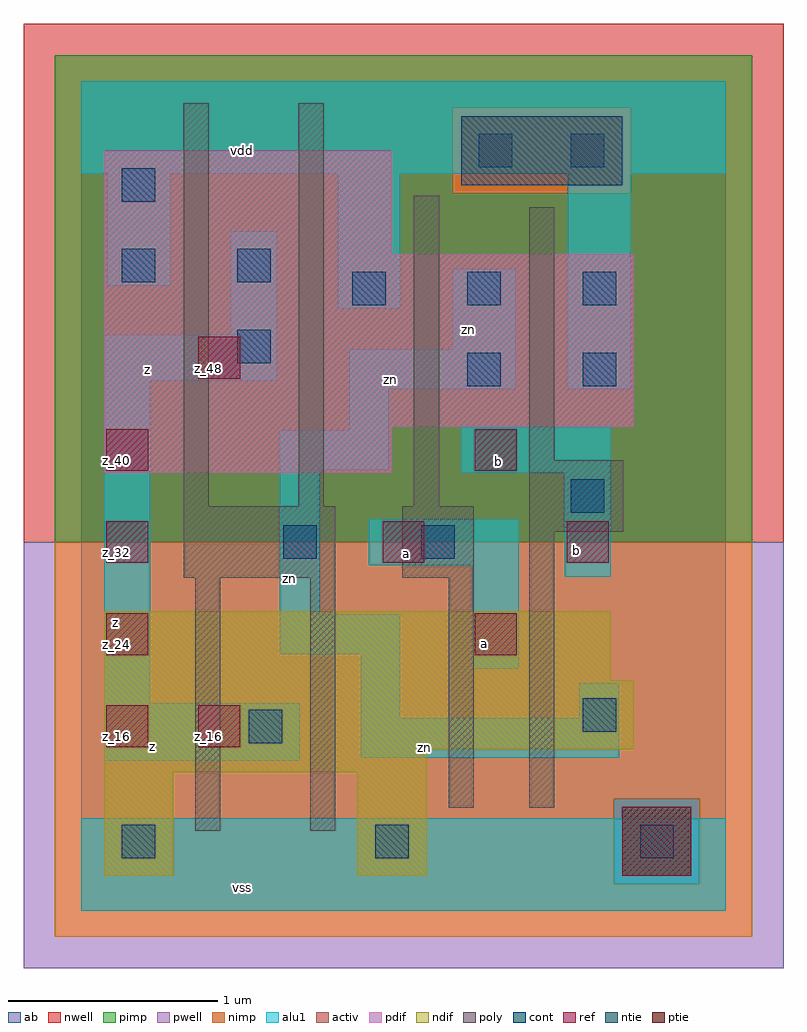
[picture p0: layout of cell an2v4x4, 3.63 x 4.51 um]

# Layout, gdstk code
import gdstk
lib = gdstk.Library(unit=1e-6, precision=2.5e-09)
def R(c, l, rs):  # rectangles x0, y0, x1, y1
    for r in rs: c.add(gdstk.rectangle(r[:2], r[2:], *l))
def A(c, l, x, y, w, h, nx, ny, dx, dy):  # array of equal rectangles
    R(c, l, [(x+i*dx, y+j*dy, x+i*dx+w, y+j*dy+h) for i in range(nx) for j in range(ny)])
ndif = (3, 0)
pdif = (4, 0)
ntie = (5, 0)
ptie = (6, 0)
ref = (24, 0)
cont = (25, 0)
pwell = (41, 0)
nwell = (42, 0)
activ = (43, 0)
pimp = (44, 0)
nimp = (45, 0)
poly = (46, 0)
alu1 = (49, 0)
ab = (63, 0)

an2v4x4 = lib.new_cell('an2v4x4')
R(an2v4x4, ndif, [(0.11,0.165,0.44,0.66), (1.32,0.165,1.65,0.66), (0.11,0.66,1.65,0.77), (0.11,0.77,2.64,1.1), (0.11,1.1,2.53,1.43)])
R(an2v4x4, pdif, [(0.11,2.09,1.485,2.31), (0.11,2.31,2.64,3.135), (0.11,3.135,1.485,3.63)])
R(an2v4x4, ntie, [(1.815,3.465,2.585,3.795)])
R(an2v4x4, ptie, [(2.585,0.165,2.915,0.495)])
A(an2v4x4, ref, 0.12, 0.78, 0.2, 0.2, 1, 4, 0, 0.44)
R(an2v4x4, ref, [(0.56,0.78,0.76,0.98), (1.88,1.22,2.08,1.42), (1.44,1.66,1.64,1.86), (2.32,1.66,2.52,1.86), (1.88,2.1,2.08,2.3), (0.56,2.54,0.76,2.74)])
A(an2v4x4, cont, 1.295, 2.89, 0.16, 0.16, 3, 1, 0.55, 0)
R(an2v4x4, cont, [(0.195,0.25,0.355,0.41), (1.405,0.25,1.565,0.41), (2.67,0.25,2.83,0.41), (0.8,0.8,0.96,0.96), (2.395,0.855,2.555,1.015), (0.965,1.68,1.125,1.84), (1.625,1.68,1.785,1.84), (2.34,1.9,2.5,2.06), (1.845,2.505,2.005,2.665), (2.395,2.505,2.555,2.665), (0.745,2.615,0.905,2.775), (0.195,3,0.355,3.16), (0.745,3,0.905,3.16), (0.195,3.385,0.355,3.545), (1.9,3.55,2.06,3.71), (2.34,3.55,2.5,3.71)])
R(an2v4x4, pwell, [(-0.275,-0.275,3.355,1.76)])
R(an2v4x4, nwell, [(-0.275,1.76,3.355,4.235)])
R(an2v4x4, activ, [(0.11,0.165,0.44,0.66), (1.32,0.165,1.65,0.66), (2.585,0.165,2.915,0.495), (0.11,0.66,1.65,0.77), (0.11,0.77,2.64,1.1), (0.11,1.1,2.53,1.43), (0.11,2.09,1.485,2.31), (0.11,2.31,2.64,3.135), (0.11,3.135,1.485,3.63), (1.815,3.465,2.585,3.795)])
R(an2v4x4, pimp, [(2.545,0.125,2.955,0.535), (-0.125,1.76,3.205,3.425), (-0.125,3.425,1.775,3.835), (2.625,3.425,3.205,3.835), (-0.125,3.835,3.205,4.085)])
R(an2v4x4, nimp, [(-0.125,-0.125,3.205,0.125), (-0.125,0.125,2.545,0.535), (2.955,0.125,3.205,0.535), (-0.125,0.535,3.205,1.76), (1.775,3.425,2.625,3.835)])
R(an2v4x4, poly, [(0.545,0.38,0.665,1.59), (1.095,0.38,1.215,1.59), (1.755,0.49,1.875,1.59), (2.14,0.49,2.26,1.81), (0.49,1.59,1.215,1.93), (1.535,1.59,1.875,1.93), (2.14,1.81,2.59,2.15), (0.49,1.93,0.61,3.855), (1.04,1.93,1.16,3.855), (1.59,1.93,1.71,3.415), (2.14,2.15,2.26,3.36)])
R(an2v4x4, alu1, [(0,0,3.08,0.44), (0.11,0.715,1.045,0.99), (1.335,0.73,2.57,0.92), (1.335,0.92,1.525,1.225), (2.38,0.92,2.57,1.085), (0.11,0.99,0.33,2.53), (1.87,1.155,2.09,1.65), (0.95,1.225,1.525,1.415), (0.95,1.415,1.14,2.105), (2.31,1.595,2.53,2.09), (1.375,1.65,2.09,1.87), (1.815,2.09,2.53,2.31), (0.95,2.105,1.47,2.295), (1.28,2.295,1.47,2.49), (1.28,2.49,2.075,2.68), (2.325,2.49,2.625,3.52), (0.11,2.53,0.935,2.75), (1.775,2.68,2.075,3.065), (0.715,2.75,0.935,3.245), (1.225,2.875,1.525,3.52), (0.125,2.985,0.425,3.52), (0,3.52,3.08,3.96)])
R(an2v4x4, ab, [(0,0,3.08,3.96)])
an2v4x4.add(gdstk.Label('vss', (0.77,0.11), layer=49, texttype=0))
an2v4x4.add(gdstk.Label('zn', (1.6425,0.7775), layer=49, texttype=0))
an2v4x4.add(gdstk.Label('b', (2.365,1.7175), layer=49, texttype=0))
an2v4x4.add(gdstk.Label('a', (1.925,1.2775), layer=49, texttype=0))
an2v4x4.add(gdstk.Label('z', (0.3425,0.7825), layer=49, texttype=0))
an2v4x4.add(gdstk.Label('a', (1.5525,1.705), layer=49, texttype=0))
an2v4x4.add(gdstk.Label('b', (1.9925,2.145), layer=49, texttype=0))
an2v4x4.add(gdstk.Label('zn', (0.9975,1.5875), layer=49, texttype=0))
an2v4x4.add(gdstk.Label('zn', (1.4775,2.5375), layer=49, texttype=0))
an2v4x4.add(gdstk.Label('z', (0.165,1.375), layer=49, texttype=0))
an2v4x4.add(gdstk.Label('zn', (1.85,2.775), layer=49, texttype=0))
an2v4x4.add(gdstk.Label('z', (0.315,2.585), layer=49, texttype=0))
an2v4x4.add(gdstk.Label('vdd', (0.77,3.63), layer=49, texttype=0))
an2v4x4.add(gdstk.Label('z_16', (0.61,0.83), layer=24, texttype=0))
an2v4x4.add(gdstk.Label('z_48', (0.61,2.59), layer=24, texttype=0))
an2v4x4.add(gdstk.Label('a_32', (1.49,1.71), layer=24, texttype=0))
an2v4x4.add(gdstk.Label('a_24', (1.93,1.27), layer=24, texttype=0))
an2v4x4.add(gdstk.Label('b_40', (1.93,2.15), layer=24, texttype=0))
an2v4x4.add(gdstk.Label('z_16', (0.17,0.83), layer=24, texttype=0))
an2v4x4.add(gdstk.Label('z_24', (0.17,1.27), layer=24, texttype=0))
an2v4x4.add(gdstk.Label('z_32', (0.17,1.71), layer=24, texttype=0))
an2v4x4.add(gdstk.Label('z_40', (0.17,2.15), layer=24, texttype=0))
an2v4x4.add(gdstk.Label('b_32', (2.37,1.71), layer=24, texttype=0))

lib.write_gds('an2v4x4.gds')
